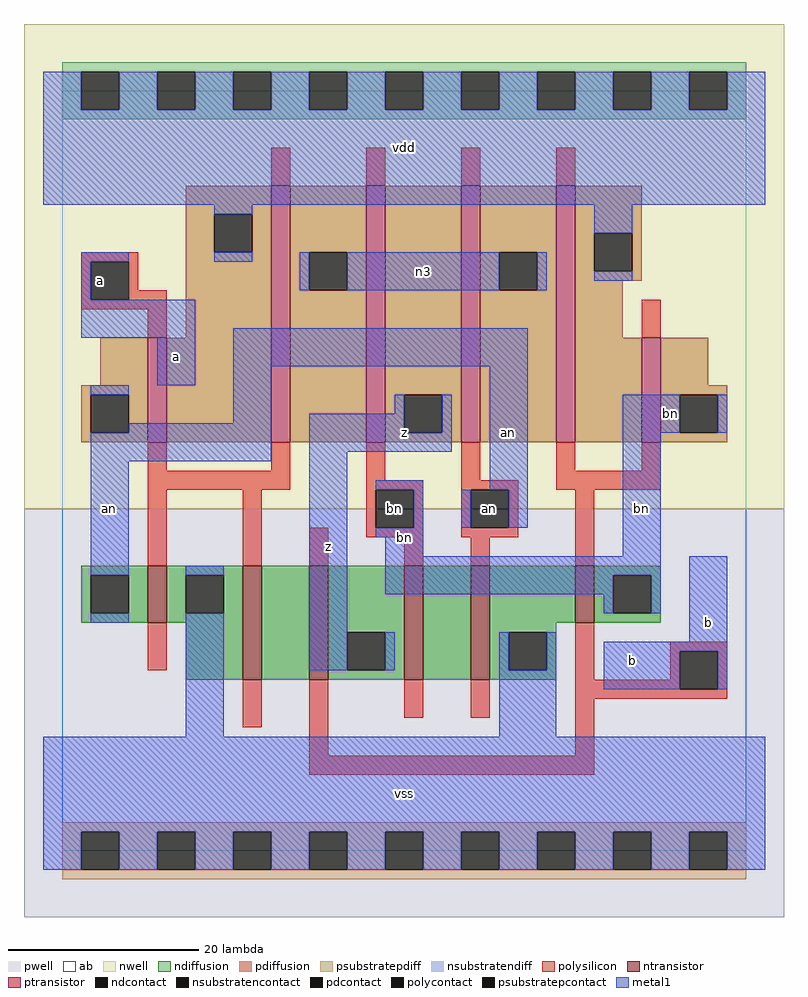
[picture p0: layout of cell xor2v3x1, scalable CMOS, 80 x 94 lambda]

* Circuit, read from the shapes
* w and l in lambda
.subckt xor2v3x1 a an b bn n3 vdd vss z
M1 vss a an vss nfet w=6 l=2
M2 n1 a vss vss nfet w=12 l=2
M3 z b n1 vss nfet w=12 l=2
M4 n2 bn z vss nfet w=12 l=2
M5 vss an n2 vss nfet w=12 l=2
M6 bn b vss vss nfet w=6 l=2
M7 vdd a an vdd pfet w=11 l=2
M8 n3 a vdd vdd pfet w=27 l=2
M9 z bn n3 vdd pfet w=27 l=2
M10 n3 an z vdd pfet w=27 l=2
M11 vdd b n3 vdd pfet w=27 l=2
M12 bn b vdd vdd pfet w=11 l=2
.ends

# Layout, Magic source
magic
tech scmos
<< ab >>
rect 0 0 72 80
<< pwell >>
rect -4 -7 76 36
<< nwell >>
rect -4 36 76 87
<< polysilicon >>
rect 22 70 24 74
rect 32 70 34 74
rect 42 70 44 74
rect 52 70 54 74
rect 2 62 8 63
rect 2 58 3 62
rect 7 59 8 62
rect 7 58 11 59
rect 2 57 11 58
rect 9 54 11 57
rect 61 54 63 58
rect 9 40 11 43
rect 22 40 24 43
rect 9 38 24 40
rect 32 39 34 43
rect 42 39 44 43
rect 52 40 54 43
rect 61 40 63 43
rect 32 38 38 39
rect 9 30 11 38
rect 19 30 21 38
rect 32 34 33 38
rect 37 34 38 38
rect 26 30 28 34
rect 32 33 38 34
rect 42 38 48 39
rect 52 38 63 40
rect 42 34 43 38
rect 47 34 48 38
rect 42 33 48 34
rect 36 30 38 33
rect 43 30 45 33
rect 54 30 56 38
rect 9 19 11 24
rect 54 18 56 24
rect 64 21 70 22
rect 64 18 65 21
rect 19 13 21 18
rect 26 10 28 18
rect 36 14 38 18
rect 43 14 45 18
rect 54 17 65 18
rect 69 17 70 21
rect 54 16 70 17
rect 54 10 56 16
rect 26 8 56 10
<< ndiffusion >>
rect 2 29 9 30
rect 2 25 3 29
rect 7 25 9 29
rect 2 24 9 25
rect 11 29 19 30
rect 11 25 13 29
rect 17 25 19 29
rect 11 24 19 25
rect 13 18 19 24
rect 21 18 26 30
rect 28 23 36 30
rect 28 19 30 23
rect 34 19 36 23
rect 28 18 36 19
rect 38 18 43 30
rect 45 24 54 30
rect 56 29 63 30
rect 56 25 58 29
rect 62 25 63 29
rect 56 24 63 25
rect 45 23 52 24
rect 45 19 47 23
rect 51 19 52 23
rect 45 18 52 19
<< pdiffusion >>
rect 13 67 22 70
rect 13 63 16 67
rect 20 63 22 67
rect 13 54 22 63
rect 4 49 9 54
rect 2 48 9 49
rect 2 44 3 48
rect 7 44 9 48
rect 2 43 9 44
rect 11 43 22 54
rect 24 63 32 70
rect 24 59 26 63
rect 30 59 32 63
rect 24 43 32 59
rect 34 48 42 70
rect 34 44 36 48
rect 40 44 42 48
rect 34 43 42 44
rect 44 63 52 70
rect 44 59 46 63
rect 50 59 52 63
rect 44 43 52 59
rect 54 65 61 70
rect 54 61 56 65
rect 60 61 61 65
rect 54 60 61 61
rect 54 54 59 60
rect 54 43 61 54
rect 63 49 68 54
rect 63 48 70 49
rect 63 44 65 48
rect 69 44 70 48
rect 63 43 70 44
<< metal1 >>
rect -2 78 2 82
rect 6 78 10 82
rect 14 78 18 82
rect 22 78 26 82
rect 30 78 34 82
rect 38 78 42 82
rect 46 78 50 82
rect 54 78 58 82
rect 62 78 66 82
rect 70 78 74 82
rect -2 68 74 78
rect 16 67 20 68
rect 56 65 60 68
rect 2 62 7 63
rect 16 62 20 63
rect 2 58 3 62
rect 25 59 26 63
rect 30 59 46 63
rect 50 59 51 63
rect 56 60 60 61
rect 2 54 14 58
rect 10 49 14 54
rect 18 51 49 55
rect 3 48 7 49
rect 18 45 22 51
rect 35 46 36 48
rect 7 44 22 45
rect 3 41 22 44
rect 26 44 36 46
rect 40 44 41 48
rect 26 42 41 44
rect 3 29 7 41
rect 3 24 7 25
rect 13 29 17 30
rect 13 12 17 25
rect 26 19 30 42
rect 33 38 38 39
rect 45 38 49 51
rect 37 34 38 38
rect 42 34 43 38
rect 47 34 49 38
rect 59 44 65 48
rect 69 44 70 48
rect 33 33 38 34
rect 34 31 38 33
rect 59 31 63 44
rect 34 29 63 31
rect 34 27 58 29
rect 57 25 58 27
rect 62 25 63 29
rect 34 19 35 23
rect 46 19 47 23
rect 51 19 52 23
rect 66 22 70 31
rect 46 12 52 19
rect 57 21 70 22
rect 57 17 65 21
rect 69 17 70 21
rect -2 2 74 12
rect -2 -2 2 2
rect 6 -2 10 2
rect 14 -2 18 2
rect 22 -2 26 2
rect 30 -2 34 2
rect 38 -2 42 2
rect 46 -2 50 2
rect 54 -2 58 2
rect 62 -2 66 2
rect 70 -2 74 2
<< ntransistor >>
rect 9 24 11 30
rect 19 18 21 30
rect 26 18 28 30
rect 36 18 38 30
rect 43 18 45 30
rect 54 24 56 30
<< ptransistor >>
rect 9 43 11 54
rect 22 43 24 70
rect 32 43 34 70
rect 42 43 44 70
rect 52 43 54 70
rect 61 43 63 54
<< polycontact >>
rect 3 58 7 62
rect 33 34 37 38
rect 43 34 47 38
rect 65 17 69 21
<< ndcontact >>
rect 3 25 7 29
rect 13 25 17 29
rect 30 19 34 23
rect 58 25 62 29
rect 47 19 51 23
<< pdcontact >>
rect 16 63 20 67
rect 3 44 7 48
rect 26 59 30 63
rect 36 44 40 48
rect 46 59 50 63
rect 56 61 60 65
rect 65 44 69 48
<< psubstratepcontact >>
rect 2 -2 6 2
rect 10 -2 14 2
rect 18 -2 22 2
rect 26 -2 30 2
rect 34 -2 38 2
rect 42 -2 46 2
rect 50 -2 54 2
rect 58 -2 62 2
rect 66 -2 70 2
<< nsubstratencontact >>
rect 2 78 6 82
rect 10 78 14 82
rect 18 78 22 82
rect 26 78 30 82
rect 34 78 38 82
rect 42 78 46 82
rect 50 78 54 82
rect 58 78 62 82
rect 66 78 70 82
<< psubstratepdiff >>
rect 0 2 72 3
rect 0 -2 2 2
rect 6 -2 10 2
rect 14 -2 18 2
rect 22 -2 26 2
rect 30 -2 34 2
rect 38 -2 42 2
rect 46 -2 50 2
rect 54 -2 58 2
rect 62 -2 66 2
rect 70 -2 72 2
rect 0 -3 72 -2
<< nsubstratendiff >>
rect 0 82 72 83
rect 0 78 2 82
rect 6 78 10 82
rect 14 78 18 82
rect 22 78 26 82
rect 30 78 34 82
rect 38 78 42 82
rect 46 78 50 82
rect 54 78 58 82
rect 62 78 66 82
rect 70 78 72 82
rect 0 77 72 78
<< labels >>
rlabel polycontact 35 36 35 36 6 bn
rlabel polycontact 45 36 45 36 6 an
rlabel metal1 5 36 5 36 6 an
rlabel polycontact 4 60 4 60 6 a
rlabel metal1 12 52 12 52 6 a
rlabel metal1 36 6 36 6 6 vss
rlabel metal1 36 33 36 33 6 bn
rlabel metal1 28 32 28 32 6 z
rlabel metal1 36 44 36 44 6 z
rlabel metal1 36 74 36 74 6 vdd
rlabel metal1 47 44 47 44 6 an
rlabel metal1 38 61 38 61 6 n3
rlabel metal1 60 20 60 20 6 b
rlabel metal1 68 24 68 24 6 b
rlabel metal1 64 46 64 46 6 bn
rlabel metal1 61 36 61 36 6 bn
<< end >>
